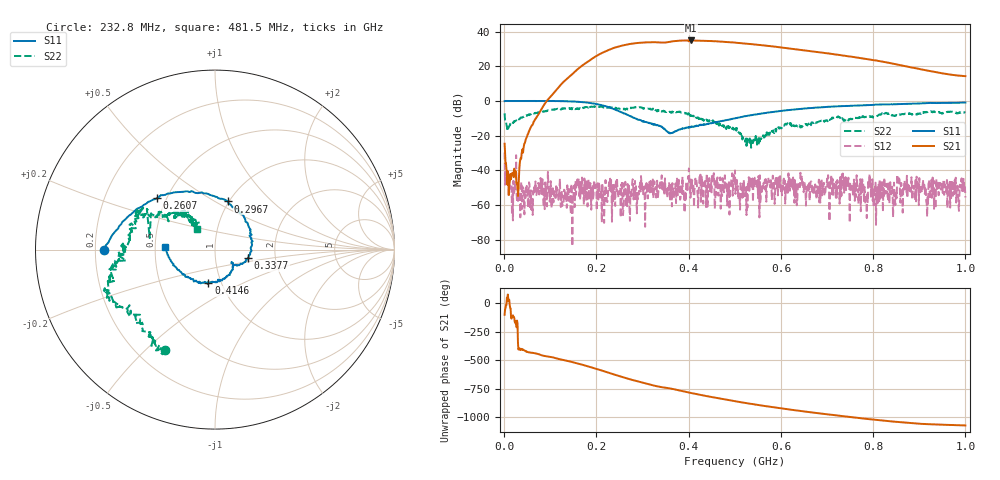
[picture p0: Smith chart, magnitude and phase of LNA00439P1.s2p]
! Created with skrf 1.9.0 (http://scikit-rf.org).
# Hz S RI R 50.0
!freq ReS11 ImS11 ReS21 ImS21 ReS12 ImS12 ReS22 ImS22
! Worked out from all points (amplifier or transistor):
!   1001 points, 1 MHz to 1 GHz, reference 50 ohm
!   highest |S21| = 34.9 dB at 404.6 MHz (marker M1)
!   |S21| within 3 dB of that: 255.5 MHz to 566.4 MHz (310.9 MHz wide, 75.7 % of centre) (the widest 1 of 2)
!   unconditionally stable (mu >= 1): start of sweep to 38.96 MHz; 232 MHz to 296.7 MHz; 296.7 MHz to end of sweep (the widest 3 of 34)
!   at 166.8 MHz: K = 1.56, MAG = 32.1 dB, |S12| = -53.2 dB
!   at 500.5 MHz: K = 1.18, MAG = 34.3 dB, |S12| = -40.1 dB
!   at 1 GHz: K = 8.70, MAG = 22.6 dB, |S12| = -55.7 dB
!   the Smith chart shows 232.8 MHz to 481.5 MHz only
!   S11 on the Smith chart (normalised r, x): 232.8 MHz: 0.24, -0.00; 260.7 MHz: 0.44, +0.31; 296.7 MHz: 0.99, +0.57; 337.7 MHz: 1.44, -0.14; 414.6 MHz: 0.87, -0.34; 481.5 MHz: 0.56, +0.02
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1000000  0.9879 0.00549  -0.00978 -0.0575  -0.0239 -0.0223  0.2786 0.3421
1.08892e8  0.5236 -0.845  -0.8535 -1.557  0.00161 -0.00171  0.4104 -0.3754
1.67833e8  -0.2278 -0.899  -10.15 -0.3453  0.00139 -0.00216  0.0322 -0.6318
2.05795e8  -0.6356 -0.4591  -15.89 15.12  -0.00326 -0.00317  -0.195 -0.6406
2.32768e8  -0.6179 -0.0037  -6.204 31.3  0.00306 0.00115  -0.2779 -0.5597
2.6074e8  -0.3225 0.2873  16.41 37.5  -0.000296 -0.00214  -0.4375 -0.3984
2.96704e8  0.0707 0.2686  43.09 20.18  -0.0062 0.00285  -0.6116 -0.2246
3.16684e8  0.1884 0.1258  49.15 3.628  -0.00423 0.00128  -0.5883 -0.1093
3.34666e8  0.1955 -0.0281  47.66 -10.74  -0.00109 0.00258  -0.5145 -0.0311
3.37663e8  0.1841 -0.0456  46.85 -12.51  -0.00269 0.00141  -0.4989 -0.0289
3.71629e8  0.1012 -0.0902  41.91 -33.68  0.00116 0.004  -0.437 0.1925
4.04596e8  0.0152 -0.1757  20.17 -51.72  0.000852 0.00156  -0.3335 0.1798
4.14586e8  -0.0366 -0.1871  12.52 -53.65  0.00399 0.0041  -0.2577 0.1574
4.45555e8  -0.1771 -0.1373  -10.41 -52.48  0.00296 0.004  -0.1821 0.1916
4.81519e8  -0.2791 0.0127  -31.13 -39.56  0.00263 -0.00166  -0.101 0.1164
5.005e8  -0.2902 0.1209  -37.84 -29.96  0.0078 -0.00609  -0.1003 0.0909
5.4046e8  -0.2324 0.3233  -41.88 -8.818  0.00479 -0.000409  -0.0743 0.0158
5.85415e8  -0.0578 0.4841  -35.57 10.19  0.00248 0.00123  -0.1145 -0.0294
6.67333e8  0.3289 0.5343  -13.09 23.41  -0.000118 -0.00354  -0.2372 -0.038
7.53247e8  0.6265 0.3734  3.922 18.38  0.000215 -0.00357  -0.2965 0.0242
8.34166e8  0.7824 0.1448  9.198 8.536  -0.00171 -0.000797  -0.4116 0.0743
1e9  0.8153 -0.3796  5.176 0.4441  -0.0016 0.000379  -0.2168 0.4115
